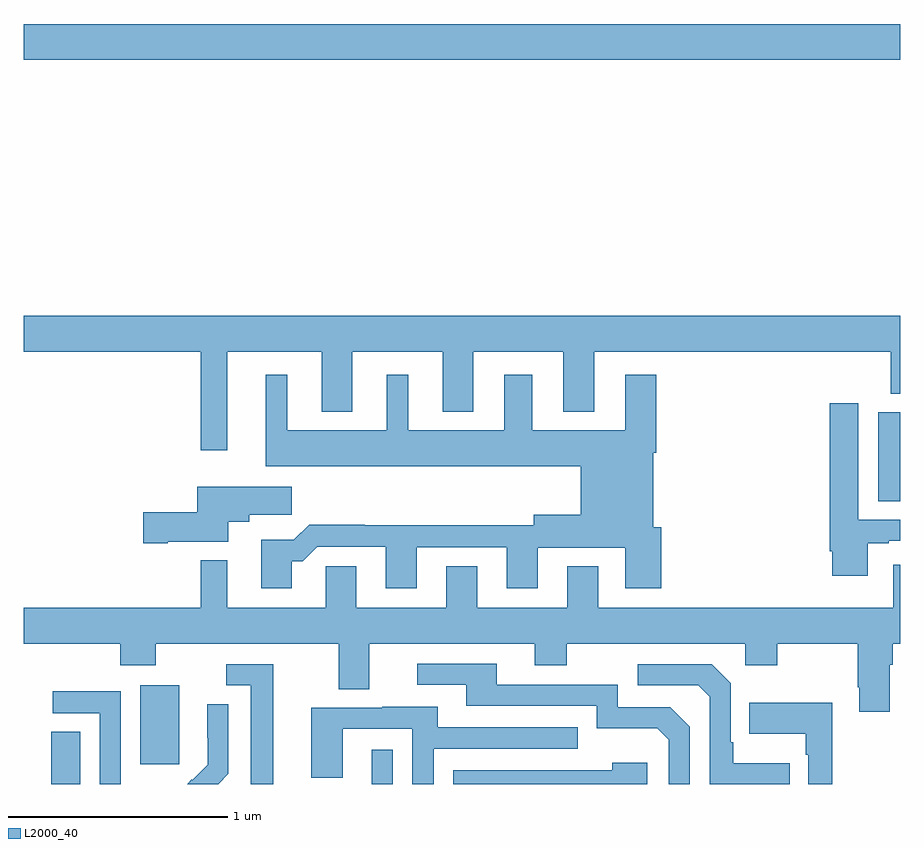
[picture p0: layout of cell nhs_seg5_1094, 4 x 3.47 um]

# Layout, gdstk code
import gdstk
lib = gdstk.Library(unit=1e-6, precision=1e-09)
def R(c, l, rs):  # rectangles x0, y0, x1, y1
    for r in rs: c.add(gdstk.rectangle(r[:2], r[2:], *l))
def P(c, l, *ps):  # polygons
    for p in ps: c.add(gdstk.Polygon(p, *l))
L2000_40 = (2000, 40)

nhs_seg5_1094 = lib.new_cell('nhs_seg5_1094')
R(nhs_seg5_1094, L2000_40, [(179.126,842.799,179.257,843.038), (180.587,842.799,180.684,842.956), (179.531,842.889,179.71,843.25), (182.9,844.09,183,844.495), (179,846.104,183,846.268)])
P(nhs_seg5_1094, L2000_40, [(179.929,844.772),(180.359,844.772),(180.359,844.499),(180.499,844.499),(180.499,844.772),(180.911,844.772),(180.911,844.499),(181.051,844.499),(181.051,844.772),(181.463,844.772),(181.463,844.499),(181.603,844.499),(181.603,844.772),(182.957,844.772),(182.957,844.58),(183,844.58),(183,844.936),(179,844.936),(179,844.772),(179.808,844.772),(179.808,844.323),(179.929,844.323)],
  [(180.223,843.815),(180.272,843.815),(180.339,843.882),(180.653,843.882),(180.653,843.693),(180.793,843.693),(180.793,843.879),(181.205,843.879),(181.205,843.693),(181.345,843.693),(181.345,843.878),(181.745,843.878),(181.745,843.693),(181.91,843.693),(181.91,843.972),(181.873,843.972),(181.873,844.31),(181.886,844.31),(181.886,844.666),(181.745,844.666),(181.745,844.414),(181.321,844.414),(181.321,844.666),(181.193,844.666),(181.193,844.414),(180.754,844.414),(180.754,844.666),(180.656,844.666),(180.656,844.414),(180.202,844.414),(180.202,844.666),(180.104,844.666),(180.104,844.25),(181.541,844.25),(181.541,844.027),(181.328,844.027),(181.328,843.98),(180.557,843.98),(180.557,843.983),(180.302,843.983),(180.232,843.913),(180.083,843.913),(180.083,843.693),(180.223,843.693)],
  [(182.851,843.897),(182.947,843.897),(182.947,843.909),(183,843.909),(183,844.005),(182.809,844.005),(182.809,844.537),(182.678,844.537),(182.678,843.862),(182.69,843.862),(182.69,843.75),(182.851,843.75)],
  [(179.656,843.905),(179.932,843.905),(179.932,843.995),(180.028,843.995),(180.028,844.027),(180.223,844.027),(180.223,844.156),(179.792,844.156),(179.792,844.04),(179.544,844.04),(179.544,843.898),(179.656,843.898)],
  [(182.953,843.344),(182.966,843.344),(182.966,843.44),(183,843.44),(183,843.799),(182.969,843.799),(182.969,843.604),(181.621,843.604),(181.621,843.793),(181.481,843.793),(181.481,843.604),(181.069,843.604),(181.069,843.794),(180.929,843.794),(180.929,843.604),(180.517,843.604),(180.517,843.794),(180.378,843.794),(180.378,843.604),(179.929,843.604),(179.929,843.82),(179.808,843.82),(179.808,843.604),(179,843.604),(179,843.44),(179.441,843.44),(179.441,843.341),(179.601,843.341),(179.601,843.44),(180.437,843.44),(180.437,843.232),(180.577,843.232),(180.577,843.44),(181.331,843.44),(181.331,843.341),(181.479,843.341),(181.479,843.44),(182.292,843.44),(182.292,843.341),(182.439,843.341),(182.439,843.44),(182.806,843.44),(182.806,843.241),(182.813,843.241),(182.813,843.129),(182.953,843.129)],
  [(182.04,843.06),(181.95,843.15),(181.71,843.15),(181.71,843.252),(181.159,843.252),(181.159,843.348),(180.795,843.348),(180.795,843.252),(181.019,843.252),(181.019,843.156),(181.614,843.156),(181.614,843.053),(181.891,843.053),(181.944,843),(181.944,842.799),(182.04,842.799)],
  [(182.495,842.893),(182.239,842.893),(182.239,842.989),(182.226,842.989),(182.226,843.258),(182.139,843.345),(181.803,843.345),(181.803,843.249),(182.079,843.249),(182.13,843.198),(182.13,842.799),(182.495,842.799)],
  [(180.139,843.345),(179.925,843.345),(179.925,843.249),(180.035,843.249),(180.035,842.799),(180.139,842.799)],
  [(179.442,843.222),(179.133,843.222),(179.133,843.123),(179.346,843.123),(179.346,842.799),(179.442,842.799)],
  [(182.689,843.169),(182.311,843.169),(182.311,843.029),(182.568,843.029),(182.568,842.933),(182.58,842.933),(182.58,842.799),(182.689,842.799)],
  [(179.934,842.846),(179.934,843.164),(179.838,843.164),(179.838,843.01),(179.84,843.01),(179.84,842.888),(179.769,842.817),(179.766,842.82),(179.745,842.799),(179.887,842.799)],
  [(180.87,842.961),(181.529,842.961),(181.529,843.057),(180.889,843.057),(180.889,843.151),(180.635,843.151),(180.635,843.147),(180.311,843.147),(180.311,842.827),(180.456,842.827),(180.456,843.051),(180.774,843.051),(180.774,842.799),(180.87,842.799)],
  [(181.846,842.896),(181.685,842.896),(181.685,842.862),(180.96,842.862),(180.96,842.799),(181.846,842.799)])

lib.write_gds('nhs_seg5_1094.gds')
